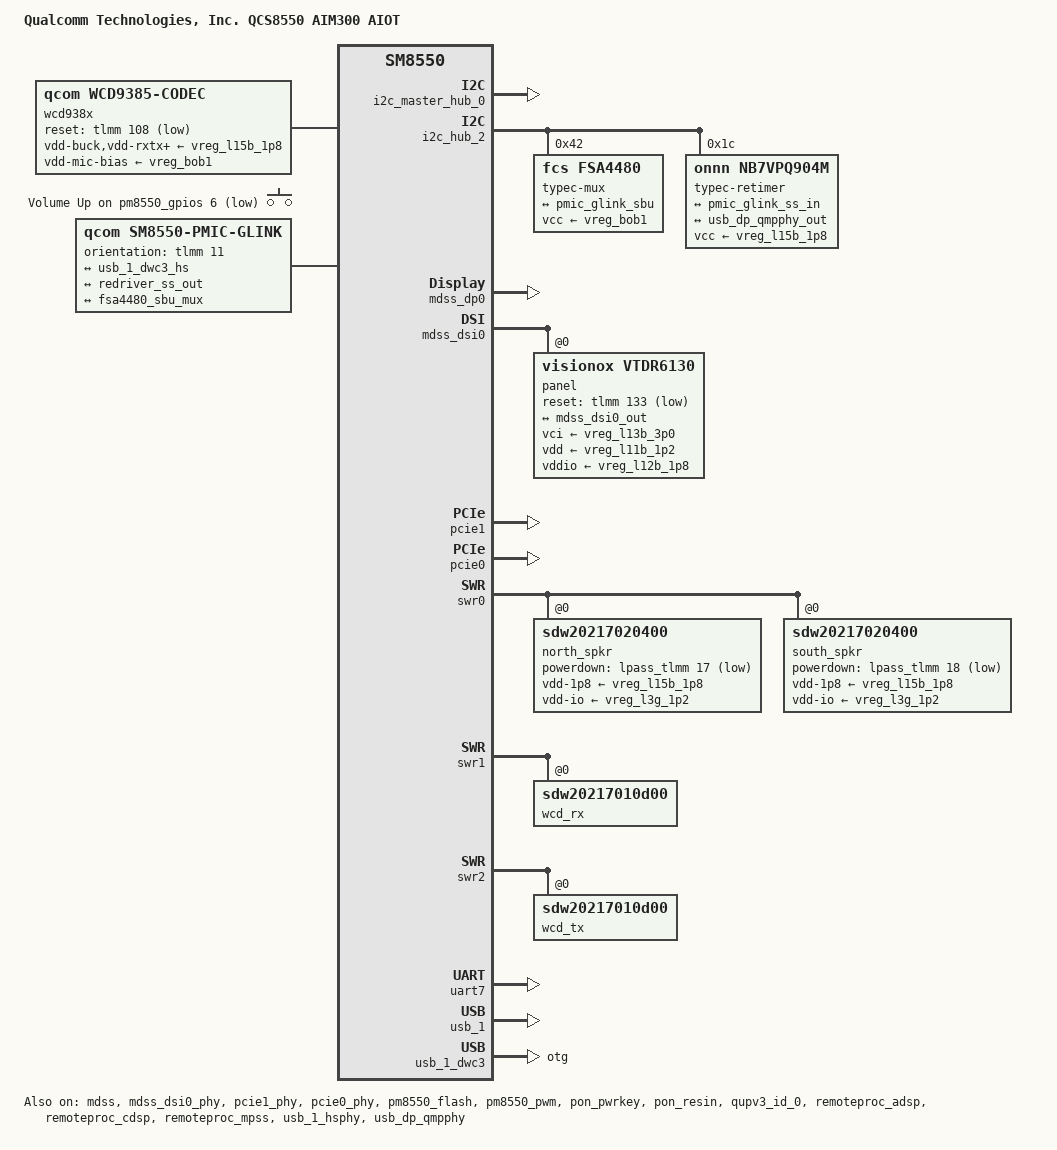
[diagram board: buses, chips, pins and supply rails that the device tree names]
// SPDX-License-Identifier: BSD-3-Clause
/*
 * Copyright (c) 2023-2024 Qualcomm Innovation Center, Inc. All rights reserved.
 */

/dts-v1/;

#include <dt-bindings/leds/common.h>
#include "qcs8550-aim300.dtsi"
#include "pm8010.dtsi"
#include "pmr735d_a.dtsi"
#include "pmr735d_b.dtsi"

/ {
	model = "Qualcomm Technologies, Inc. QCS8550 AIM300 AIOT";
	compatible = "qcom,qcs8550-aim300-aiot", "qcom,qcs8550-aim300", "qcom,qcs8550",
		     "qcom,qcm8550", "qcom,sm8550";
	qcom,msm-id = <603 0x20000>;
	qcom,board-id = <0x1011f 3>;

	aliases {
		serial0 = &uart7;
	};

	wcd938x: audio-codec {
		compatible = "qcom,wcd9385-codec";

		pinctrl-names = "default";
		pinctrl-0 = <&wcd_default>;

		qcom,micbias1-microvolt = <1800000>;
		qcom,micbias2-microvolt = <1800000>;
		qcom,micbias3-microvolt = <1800000>;
		qcom,micbias4-microvolt = <1800000>;
		qcom,mbhc-buttons-vthreshold-microvolt = <75000 150000 237000 500000 500000
							  500000 500000 500000>;
		qcom,mbhc-headset-vthreshold-microvolt = <1700000>;
		qcom,mbhc-headphone-vthreshold-microvolt = <50000>;
		qcom,rx-device = <&wcd_rx>;
		qcom,tx-device = <&wcd_tx>;

		reset-gpios = <&tlmm 108 GPIO_ACTIVE_LOW>;

		#sound-dai-cells = <1>;

		vdd-buck-supply = <&vreg_l15b_1p8>;
		vdd-rxtx-supply = <&vreg_l15b_1p8>;
		vdd-io-supply = <&vreg_l15b_1p8>;
		vdd-mic-bias-supply = <&vreg_bob1>;
	};

	chosen {
		stdout-path = "serial0:115200n8";
	};

	gpio-keys {
		compatible = "gpio-keys";

		pinctrl-0 = <&volume_up_n>;
		pinctrl-names = "default";

		key-volume-up {
			label = "Volume Up";
			debounce-interval = <15>;
			gpios = <&pm8550_gpios 6 GPIO_ACTIVE_LOW>;
			linux,code = <KEY_VOLUMEUP>;
			linux,can-disable;
			wakeup-source;
		};
	};

	pmic-glink {
		compatible = "qcom,sm8550-pmic-glink", "qcom,pmic-glink";
		#address-cells = <1>;
		#size-cells = <0>;
		orientation-gpios = <&tlmm 11 GPIO_ACTIVE_HIGH>;

		connector@0 {
			compatible = "usb-c-connector";
			reg = <0>;
			power-role = "dual";
			data-role = "dual";

			ports {
				#address-cells = <1>;
				#size-cells = <0>;

				port@0 {
					reg = <0>;

					pmic_glink_hs_in: endpoint {
						remote-endpoint = <&usb_1_dwc3_hs>;
					};
				};

				port@1 {
					reg = <1>;

					pmic_glink_ss_in: endpoint {
						remote-endpoint = <&redriver_ss_out>;
					};
				};

				port@2 {
					reg = <2>;

					pmic_glink_sbu: endpoint {
						remote-endpoint = <&fsa4480_sbu_mux>;
					};
				};
			};
		};
	};

	sound {
		compatible = "qcom,sm8550-sndcard", "qcom,sm8450-sndcard";
		model = "AIM300-AIOT";
		audio-routing = "SpkrLeft IN", "WSA_SPK1 OUT",
				"SpkrRight IN", "WSA_SPK2 OUT",
				"IN1_HPHL", "HPHL_OUT",
				"IN2_HPHR", "HPHR_OUT",
				"AMIC2", "MIC BIAS2",
				"VA DMIC0", "MIC BIAS1",
				"VA DMIC1", "MIC BIAS1",
				"VA DMIC2", "MIC BIAS3",
				"TX DMIC0", "MIC BIAS1",
				"TX DMIC1", "MIC BIAS2",
				"TX DMIC2", "MIC BIAS3",
				"TX SWR_ADC1", "ADC2_OUTPUT";

		wcd-capture-dai-link {
			link-name = "WCD Capture";

			cpu {
				sound-dai = <&q6apmbedai TX_CODEC_DMA_TX_3>;
			};

			codec {
				sound-dai = <&wcd938x 1>, <&swr2 0>, <&lpass_txmacro 0>;
			};

			platform {
				sound-dai = <&q6apm>;
			};
		};

		wcd-playback-dai-link {
			link-name = "WCD Playback";

			cpu {
				sound-dai = <&q6apmbedai RX_CODEC_DMA_RX_0>;
			};

			codec {
				sound-dai = <&wcd938x 0>, <&swr1 0>, <&lpass_rxmacro 0>;
			};

			platform {
				sound-dai = <&q6apm>;
			};
		};

		wsa-dai-link {
			link-name = "WSA Playback";

			cpu {
				sound-dai = <&q6apmbedai WSA_CODEC_DMA_RX_0>;
			};

			codec {
				sound-dai = <&north_spkr>, <&south_spkr>,
					    <&swr0 0>, <&lpass_wsamacro 0>;
			};

			platform {
				sound-dai = <&q6apm>;
			};
		};

		va-dai-link {
			link-name = "VA Capture";

			cpu {
				sound-dai = <&q6apmbedai TX_CODEC_DMA_TX_3>;
			};

			codec {
				sound-dai = <&lpass_vamacro 0>;
			};

			platform {
				sound-dai = <&q6apm>;
			};
		};
	};
};

&i2c_master_hub_0 {
	status = "okay";
};

&i2c_hub_2 {
	status = "okay";

	typec-mux@42 {
		compatible = "fcs,fsa4480";
		reg = <0x42>;

		vcc-supply = <&vreg_bob1>;

		mode-switch;
		orientation-switch;

		port {
			fsa4480_sbu_mux: endpoint {
				remote-endpoint = <&pmic_glink_sbu>;
			};
		};
	};

	typec-retimer@1c {
		compatible = "onnn,nb7vpq904m";
		reg = <0x1c>;

		vcc-supply = <&vreg_l15b_1p8>;

		orientation-switch;
		retimer-switch;

		ports {
			#address-cells = <1>;
			#size-cells = <0>;

			port@0 {
				reg = <0>;

				redriver_ss_out: endpoint {
					remote-endpoint = <&pmic_glink_ss_in>;
				};
			};

			port@1 {
				reg = <1>;

				redriver_ss_in: endpoint {
					data-lanes = <3 2 1 0>;
					remote-endpoint = <&usb_dp_qmpphy_out>;
				};
			};
		};
	};
};

&gcc {
	clocks = <&bi_tcxo_div2>, <&sleep_clk>,
		 <&pcie0_phy>,
		 <&pcie1_phy>,
		 <0>,
		 <&ufs_mem_phy 0>,
		 <&ufs_mem_phy 1>,
		 <&ufs_mem_phy 2>,
		 <&usb_dp_qmpphy QMP_USB43DP_USB3_PIPE_CLK>;
};

&lpass_tlmm {
	spkr_1_sd_n_active: spkr-1-sd-n-active-state {
		pins = "gpio17";
		function = "gpio";
		drive-strength = <16>;
		bias-disable;
		output-low;
	};

	spkr_2_sd_n_active: spkr-2-sd-n-active-state {
		pins = "gpio18";
		function = "gpio";
		drive-strength = <16>;
		bias-disable;
		output-low;
	};
};

&mdss {
	status = "okay";
};

&mdss_dp0 {
	status = "okay";
};

&mdss_dp0_out {
	data-lanes = <0 1>;
	remote-endpoint = <&usb_dp_qmpphy_dp_in>;
};

&mdss_dsi0 {
	vdda-supply = <&vreg_l3e_1p2>;
	status = "okay";

	panel@0 {
		compatible = "visionox,vtdr6130";
		reg = <0>;

		pinctrl-0 = <&dsi_active>, <&te_active>;
		pinctrl-1 = <&dsi_suspend>, <&te_suspend>;
		pinctrl-names = "default", "sleep";

		reset-gpios = <&tlmm 133 GPIO_ACTIVE_LOW>;

		vci-supply = <&vreg_l13b_3p0>;
		vdd-supply = <&vreg_l11b_1p2>;
		vddio-supply = <&vreg_l12b_1p8>;

		port {
			panel0_in: endpoint {
				remote-endpoint = <&mdss_dsi0_out>;
			};
		};
	};
};

&mdss_dsi0_out {
	remote-endpoint = <&panel0_in>;
	data-lanes = <0 1 2 3>;
};

&mdss_dsi0_phy {
	vdds-supply = <&vreg_l1e_0p88>;
	status = "okay";
};

&pcie_1_phy_aux_clk {
	clock-frequency = <1000>;
};

&pcie1 {
	perst-gpios = <&tlmm 97 GPIO_ACTIVE_LOW>;
	wake-gpios = <&tlmm 99 GPIO_ACTIVE_HIGH>;

	pinctrl-0 = <&pcie1_default_state>;
	pinctrl-names = "default";

	iommu-map = <0x0 &apps_smmu 0x1480 0x1>,
		<0x100 &apps_smmu 0x1481 0x1>,
		<0x208 &apps_smmu 0x1482 0x1>,
		<0x210 &apps_smmu 0x1483 0x1>,
		<0x218 &apps_smmu 0x1484 0x1>,
		<0x300 &apps_smmu 0x1487 0x1>,
		<0x400 &apps_smmu 0x1488 0x1>,
		<0x500 &apps_smmu 0x148c 0x1>,
		<0x501 &apps_smmu 0x148e 0x1>;

	status = "okay";
};

&pcie1_phy {
	vdda-phy-supply = <&vreg_l3c_0p9>;
	vdda-pll-supply = <&vreg_l3e_1p2>;
	vdda-qref-supply = <&vreg_l1e_0p88>;

	status = "okay";
};

&pcie0 {
	wake-gpios = <&tlmm 96 GPIO_ACTIVE_HIGH>;
	perst-gpios = <&tlmm 94 GPIO_ACTIVE_LOW>;

	pinctrl-names = "default";
	pinctrl-0 = <&pcie0_default_state>;

	status = "okay";
};

&pcie0_phy {
	vdda-phy-supply = <&vreg_l1e_0p88>;
	vdda-pll-supply = <&vreg_l3e_1p2>;

	status = "okay";
};

&pm8550_flash {
	status = "okay";

	led-0 {
		function = LED_FUNCTION_FLASH;
		color = <LED_COLOR_ID_YELLOW>;
		flash-max-microamp = <2000000>;
		flash-max-timeout-us = <1280000>;
		function-enumerator = <0>;
		led-sources = <1>, <4>;
		led-max-microamp = <500000>;
	};

	led-1 {
		function = LED_FUNCTION_FLASH;
		color = <LED_COLOR_ID_WHITE>;
		flash-max-microamp = <2000000>;
		flash-max-timeout-us = <1280000>;
		function-enumerator = <1>;
		led-sources = <2>, <3>;
		led-max-microamp = <500000>;
	};
};

&pm8550_gpios {
	volume_up_n: volume-up-n-state {
		pins = "gpio6";
		function = "normal";
		power-source = <1>;
		bias-pull-up;
		input-enable;
	};
};

&pm8550_pwm {
	status = "okay";

	multi-led {
		color = <LED_COLOR_ID_RGB>;
		function = LED_FUNCTION_STATUS;

		#address-cells = <1>;
		#size-cells = <0>;

		led@1 {
			reg = <1>;
			color = <LED_COLOR_ID_RED>;
		};

		led@2 {
			reg = <2>;
			color = <LED_COLOR_ID_GREEN>;
		};

		led@3 {
			reg = <3>;
			color = <LED_COLOR_ID_BLUE>;
		};
	};
};

&pm8550b_eusb2_repeater {
	vdd18-supply = <&vreg_l15b_1p8>;
	vdd3-supply = <&vreg_l5b_3p1>;
};


&pon_pwrkey {
	status = "okay";
};

&pon_resin {
	linux,code = <KEY_VOLUMEDOWN>;

	status = "okay";
};

&qupv3_id_0 {
	status = "okay";
};

&remoteproc_adsp {
	firmware-name = "qcom/qcs8550/adsp.mbn",
			"qcom/qcs8550/adsp_dtbs.elf";
	status = "okay";
};

&remoteproc_cdsp {
	firmware-name = "qcom/qcs8550/cdsp.mbn",
			"qcom/qcs8550/cdsp_dtbs.elf";
	status = "okay";
};

&remoteproc_mpss {
	firmware-name = "qcom/qcs8550/qdsp6sw.mbn",
			"qcom/qcs8550/qdsp6sw_dtbs.elf";
	status = "okay";
};

&sleep_clk {
	clock-frequency = <32000>;
};

&swr0 {
	status = "okay";

	/* WSA8845, Speaker North */
	north_spkr: speaker@0,0 {
		compatible = "sdw20217020400";
		reg = <0 0>;
		pinctrl-0 = <&spkr_1_sd_n_active>;
		pinctrl-names = "default";
		powerdown-gpios = <&lpass_tlmm 17 GPIO_ACTIVE_LOW>;
		#sound-dai-cells = <0>;
		sound-name-prefix = "SpkrLeft";
		vdd-1p8-supply = <&vreg_l15b_1p8>;
		vdd-io-supply = <&vreg_l3g_1p2>;
	};

	/* WSA8845, Speaker South */
	south_spkr: speaker@0,1 {
		compatible = "sdw20217020400";
		reg = <0 1>;
		pinctrl-0 = <&spkr_2_sd_n_active>;
		pinctrl-names = "default";
		powerdown-gpios = <&lpass_tlmm 18 GPIO_ACTIVE_LOW>;
		#sound-dai-cells = <0>;
		sound-name-prefix = "SpkrRight";
		vdd-1p8-supply = <&vreg_l15b_1p8>;
		vdd-io-supply = <&vreg_l3g_1p2>;
	};
};

&swr1 {
	status = "okay";

	/* WCD9385 RX */
	wcd_rx: codec@0,4 {
		compatible = "sdw20217010d00";
		reg = <0 4>;
		qcom,rx-port-mapping = <1 2 3 4 5>;
	};
};

&swr2 {
	status = "okay";

	/* WCD9385 TX */
	wcd_tx: codec@0,3 {
		compatible = "sdw20217010d00";
		reg = <0 3>;
		qcom,tx-port-mapping = <1 1 2 3>;
	};
};

&tlmm {
	gpio-reserved-ranges = <32 8>;

	dsi_active: dsi-active-state {
		pins = "gpio133";
		function = "gpio";
		drive-strength = <8>;
		bias-disable;
	};

	dsi_suspend: dsi-suspend-state {
		pins = "gpio133";
		function = "gpio";
		drive-strength = <2>;
		bias-pull-down;
	};

	te_active: te-active-state {
		pins = "gpio86";
		function = "mdp_vsync";
		drive-strength = <2>;
		bias-pull-down;
	};

	te_suspend: te-suspend-state {
		pins = "gpio86";
		function = "mdp_vsync";
		drive-strength = <2>;
		bias-pull-down;
	};

	wcd_default: wcd-reset-n-active-state {
		pins = "gpio108";
		function = "gpio";
		drive-strength = <16>;
		bias-disable;
		output-low;
	};
};

&uart7 {
	status = "okay";
};

&usb_1 {
	status = "okay";
};

&usb_1_dwc3 {
	dr_mode = "otg";
	usb-role-switch;
};

&usb_1_dwc3_hs {
	remote-endpoint = <&pmic_glink_hs_in>;
};

&usb_1_dwc3_ss {
	remote-endpoint = <&usb_dp_qmpphy_usb_ss_in>;
};

&usb_1_hsphy {
	phys = <&pm8550b_eusb2_repeater>;

	vdd-supply = <&vreg_l1e_0p88>;
	vdda12-supply = <&vreg_l3e_1p2>;

	status = "okay";
};

&usb_dp_qmpphy {
	vdda-phy-supply = <&vreg_l3e_1p2>;
	vdda-pll-supply = <&vreg_l3f_0p88>;

	orientation-switch;

	status = "okay";
};

&usb_dp_qmpphy_dp_in {
	remote-endpoint = <&mdss_dp0_out>;
};

&usb_dp_qmpphy_out {
	remote-endpoint = <&redriver_ss_in>;
};

&usb_dp_qmpphy_usb_ss_in {
	remote-endpoint = <&usb_1_dwc3_ss>;
};

&xo_board {
	clock-frequency = <76800000>;
};
